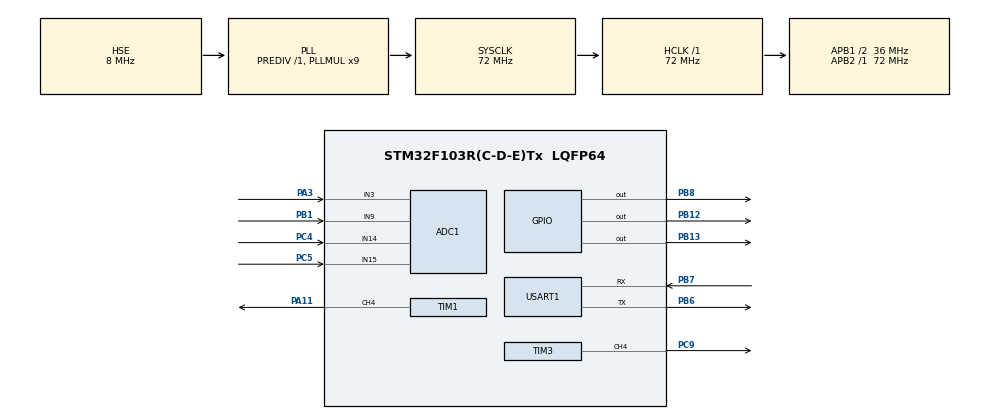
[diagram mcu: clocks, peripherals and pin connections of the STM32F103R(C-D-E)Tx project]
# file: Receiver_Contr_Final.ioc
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ADC1.Channel-0\#ChannelRegularConversion=ADC_CHANNEL_3
ADC1.Channel-1\#ChannelRegularConversion=ADC_CHANNEL_9
ADC1.Channel-2\#ChannelRegularConversion=ADC_CHANNEL_14
ADC1.Channel-3\#ChannelRegularConversion=ADC_CHANNEL_15
ADC1.NbrOfConversion=4
ADC1.NbrOfConversionFlag=1
ADC1.Rank-0\#ChannelRegularConversion=1
ADC1.Rank-1\#ChannelRegularConversion=2
ADC1.Rank-2\#ChannelRegularConversion=3
ADC1.Rank-3\#ChannelRegularConversion=4
ADC1.SamplingTime-0\#ChannelRegularConversion=ADC_SAMPLETIME_1CYCLE_5
ADC1.SamplingTime-1\#ChannelRegularConversion=ADC_SAMPLETIME_1CYCLE_5
ADC1.SamplingTime-2\#ChannelRegularConversion=ADC_SAMPLETIME_1CYCLE_5
ADC1.SamplingTime-3\#ChannelRegularConversion=ADC_SAMPLETIME_1CYCLE_5
ADC1.master=1
Dma.ADC1.1.Direction=DMA_PERIPH_TO_MEMORY
Dma.ADC1.1.Instance=DMA1_Channel1
Dma.ADC1.1.MemDataAlignment=DMA_MDATAALIGN_WORD
Dma.ADC1.1.MemInc=DMA_MINC_ENABLE
Dma.ADC1.1.Mode=DMA_NORMAL
Dma.ADC1.1.PeriphDataAlignment=DMA_PDATAALIGN_WORD
Dma.ADC1.1.PeriphInc=DMA_PINC_DISABLE
Dma.ADC1.1.Priority=DMA_PRIORITY_LOW
Dma.Request0=USART1_TX
Dma.Request1=ADC1
Dma.USART1_TX.0.Direction=DMA_MEMORY_TO_PERIPH
Dma.USART1_TX.0.Instance=DMA1_Channel4
Dma.USART1_TX.0.MemDataAlignment=DMA_MDATAALIGN_BYTE
Dma.USART1_TX.0.MemInc=DMA_MINC_ENABLE
Dma.USART1_TX.0.Mode=DMA_NORMAL
Dma.USART1_TX.0.PeriphDataAlignment=DMA_PDATAALIGN_BYTE
Dma.USART1_TX.0.PeriphInc=DMA_PINC_DISABLE
Dma.USART1_TX.0.Priority=DMA_PRIORITY_LOW
Mcu.Family=STM32F1
Mcu.Name=STM32F103R(C-D-E)Tx
Mcu.Package=LQFP64
NVIC.ADC1_2_IRQn=true\:0\:0\:false\:false\:true\:true
NVIC.DMA1_Channel1_IRQn=true\:0\:0\:false\:false\:true\:true
NVIC.DMA1_Channel4_IRQn=true\:0\:0\:false\:false\:true\:true
NVIC.PriorityGroup=NVIC_PRIORITYGROUP_4
NVIC.TIM1_CC_IRQn=true\:0\:0\:false\:false\:true\:true
NVIC.TIM7_IRQn=true\:0\:0\:false\:false\:true\:true
NVIC.USART1_IRQn=true\:0\:0\:false\:false\:true\:true
PA11.GPIO_Speed=GPIO_SPEED_FREQ_HIGH
PA11.Signal=S_TIM1_CH4
PA3.Signal=ADCx_IN3
PB1.Signal=ADCx_IN9
PB12.GPIO_Speed=GPIO_SPEED_FREQ_HIGH
PB12.Signal=GPIO_Output
PB13.GPIO_Speed=GPIO_SPEED_FREQ_HIGH
PB13.Signal=GPIO_Output
PB6.Mode=Asynchronous
PB6.Signal=USART1_TX
PB7.Mode=Asynchronous
PB7.Signal=USART1_RX
PB8.GPIO_Speed=GPIO_SPEED_FREQ_HIGH
PB8.Signal=GPIO_Output
PC4.Signal=ADCx_IN14
PC5.Signal=ADCx_IN15
PC9.GPIO_Speed=GPIO_SPEED_FREQ_HIGH
PC9.Signal=S_TIM3_CH4
PD0-OSC_IN.Mode=HSE-External-Oscillator
PD0-OSC_IN.Signal=RCC_OSC_IN
PD1-OSC_OUT.Mode=HSE-External-Oscillator
PD1-OSC_OUT.Signal=RCC_OSC_OUT
ProjectManager.HeapSize=0x200
ProjectManager.StackSize=0x400
ProjectManager.TargetToolchain=MDK-ARM V5
RCC.ADCPresc=RCC_ADCPCLK2_DIV6
RCC.AHBFreq_Value=72000000
RCC.APB1CLKDivider=RCC_HCLK_DIV2
RCC.APB1Freq_Value=36000000
RCC.APB1TimFreq_Value=72000000
RCC.APB2Freq_Value=72000000
RCC.APB2TimFreq_Value=72000000
RCC.HCLKFreq_Value=72000000
RCC.OscillatorTypeHSI=RCC_OSCILLATORTYPE_HSI
RCC.PLLMUL=RCC_PLL_MUL9
RCC.PLLSourceVirtual=RCC_PLLSOURCE_HSE
RCC.SYSCLKFreq_VALUE=72000000
RCC.SYSCLKSource=RCC_SYSCLKSOURCE_PLLCLK
RCC.USBFreq_Value=72000000
SH.ADCx_IN14.0=ADC1_IN14,IN14
SH.ADCx_IN15.0=ADC1_IN15,IN15
SH.ADCx_IN3.0=ADC1_IN3,IN3
SH.ADCx_IN9.0=ADC1_IN9,IN9
SH.S_TIM1_CH4.0=TIM1_CH4,PWM Generation4 CH4
SH.S_TIM3_CH4.0=TIM3_CH4,PWM Generation4 CH4
TIM1.Channel-PWM\ Generation4\ CH4=TIM_CHANNEL_4
TIM1.OCPolarity_4=TIM_OCPOLARITY_HIGH
TIM1.Period=3600
TIM1.Pulse-PWM\ Generation4\ CH4=3600
TIM3.Channel-PWM\ Generation4\ CH4=TIM_CHANNEL_4
TIM3.Period=26
TIM3.Prescaler=71
TIM3.Pulse-PWM\ Generation4\ CH4=13
TIM7.Period=560
TIM7.Prescaler=71
USART1.Parity=PARITY_EVEN
USART1.VirtualMode=VM_ASYNC
USART1.WordLength=WORDLENGTH_9B
VP_SYS_VS_ND.Mode=No_Debug
VP_TIM7_VS_ClockSourceINT.Mode=Enable_Timer
board=Receiver_Contr_Final

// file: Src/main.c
/**
  ******************************************************************************
  * File Name          : main.c
  * Description        : Main program body
  ******************************************************************************
  *
  * COPYRIGHT(c) 2019 STMicroelectronics
  *
  * Redistribution and use in source and binary forms, with or without modification,
  * are permitted provided that the following conditions are met:
  *   1. Redistributions of source code must retain the above copyright notice,
  *      this list of conditions and the following disclaimer.
  *   2. Redistributions in binary form must reproduce the above copyright notice,
  *      this list of conditions and the following disclaimer in the documentation
  *      and/or other materials provided with the distribution.
  *   3. Neither the name of STMicroelectronics nor the names of its contributors
  *      may be used to endorse or promote products derived from this software
  *      without specific prior written permission.
  *
  * THIS SOFTWARE IS PROVIDED BY THE COPYRIGHT HOLDERS AND CONTRIBUTORS "AS IS"
  * AND ANY EXPRESS OR IMPLIED WARRANTIES, INCLUDING, BUT NOT LIMITED TO, THE
  * IMPLIED WARRANTIES OF MERCHANTABILITY AND FITNESS FOR A PARTICULAR PURPOSE ARE
  * DISCLAIMED. IN NO EVENT SHALL THE COPYRIGHT HOLDER OR CONTRIBUTORS BE LIABLE
  * FOR ANY DIRECT, INDIRECT, INCIDENTAL, SPECIAL, EXEMPLARY, OR CONSEQUENTIAL
  * DAMAGES (INCLUDING, BUT NOT LIMITED TO, PROCUREMENT OF SUBSTITUTE GOODS OR
  * SERVICES; LOSS OF USE, DATA, OR PROFITS; OR BUSINESS INTERRUPTION) HOWEVER
  * CAUSED AND ON ANY THEORY OF LIABILITY, WHETHER IN CONTRACT, STRICT LIABILITY,
  * OR TORT (INCLUDING NEGLIGENCE OR OTHERWISE) ARISING IN ANY WAY OUT OF THE USE
  * OF THIS SOFTWARE, EVEN IF ADVISED OF THE POSSIBILITY OF SUCH DAMAGE.
  *
  ******************************************************************************
  */
#include "main.h"
#include "stm32f1xx_hal.h"
#include "adc.h"
#include "dma.h"
#include "tim.h"
#include "usart.h"
#include "gpio.h"

/* USER CODE BEGIN PV */
/* Private variables ---------------------------------------------------------*/

//以下是充电控制的相关参数
uint32_t ADC_ConvertedValue[4];//AD采样结果存储
uint16_t Vot_Limit_Rec,Cur_Limit_Rec,Temp_Limit_Rec;
uint16_t Vot_Rec_Buck_In,Duty_Rec_Buck,Vot_Rec_Buck_Out,Cur_Rec_Buck,Temp_Rec_Battery;
uint16_t WorkMode;//对于WorkMode，第1-2位存储温度控制模式，00表示失能，11表示使能，10和01无意义
//对于WorkMode，第3-4位存储BUCK控制模式，00表示正常PI控制，11表示全关，10表示全开，01无意义
uint8_t SystemState;
float K_VotStart,K_VotStop;//通过BUCK输入电压检测来转换接收端状态，两个K值是输入电压与输出电压的比值
uint8_t Flag_WorkMode_Conversion;
uint16_t TimeCnt_WorkMode_Conversion;
uint16_t Delt_VotStart,Delt_VotStop;
/*******************************************************
SystemState用以决定工作状态切换，暂定义如下：
0：未充电状态；1：正常充电状态。只有这两种状态，中间状态不做特殊处理
*******************************************************/

float Cur_Kp,Cur_Ki,Vot_Kp,Vot_Ki;//PI控制的参数

//以下是红外发射的相关参数
uint8_t Flag1,Flag2,BitCnt,Flag_Infray_Done,Jiaoyan_Infray;//计算数据校验用，低4位有用;
uint8_t Flag_Zhen_No,Flag_Infray_WaitTime;
//只有Flag_Infray_Done标志为1时，才允许发射红外信号
uint32_t Infray_TransDat;//要发送的数据
uint16_t Period[32];//存储每一位数据对应的Pulse信息
uint16_t TimeCnt_Infray;//用以定时3秒钟，在休眠态，每隔3秒钟，发送一次红外，一次发送4帧，循环2遍
uint8_t Cnt_InfrayTrans;//用以记录红外发送循环了几次

//以下是车辆自身信息
uint32_t Bike_ID;

//以下是串口控制信息
uint8_t Flag_StartByte;//表征是否检测到字头
uint8_t Byte_Cnt;//对接收字节的数量进行计数
uint8_t Data_ReceArray[6];//存储接收到的串口数据，6个字节为一组，超时未接收完成则全部舍弃
uint8_t Data_ReceSingle;//单个接收字节
uint8_t Flag_Trans_Done,Flag_Rece_Done,TimeCnt485;
uint8_t SystInfo_Package[18];
uint16_t Jiaoyan485;

//以下是FLASH相关信息
uint32_t ReadFlashData;
/* USER CODE END PV */

void SystemClock_Config(void);
void Error_Handler(void);

/* USER CODE BEGIN PFP */
/* Private function prototypes -----------------------------------------------*/
//红外发射函数，形参为要发送的32位数值
void Ir_Tx(uint32_t Dat);
//红外待发信息打包函数
void Infray_InfoPackage_First_First(void);//打包第一类帧第一分帧
void Infray_InfoPackage_First_Second(void);//打包第一类帧第二分帧
void Infray_InfoPackage_First_Third(void);//打包第一类帧第三分帧
void Infray_InfoPackage_Second(void);//打包第二类帧
void Infray_InfoPackage_Third(void);//打包第三类帧
//FLASH读写函数
uint32_t ReadFlash(uint32_t Address);//读指定位置上的数值，一次读取4个字节
void WriteFlash(uint32_t Address);//向指定地址上写数据，半字操作，即一次写入两个字节
//变量初始化函数
void Variable_Init(void);
//全部信息打包及发送函数
void Info_Trans(void);
void Info_Package(void);
/* USER CODE END PFP */

/* USER CODE BEGIN 0 */
#define FLASH_RW_StartAddress ((uint32_t) 0x0803F804)  //FLASH第127页起始地址向后偏移4个字节
/* USER CODE END 0 */

int main(void)
{

  /* USER CODE BEGIN 1 */
	uint8_t ss,sum;
  /* USER CODE END 1 */

  /* MCU Configuration----------------------------------------------------------*/

  /* Reset of all peripherals, Initializes the Flash interface and the Systick. */
  HAL_Init();

  /* Configure the system clock */
  SystemClock_Config();

  /* Initialize all configured peripherals */
  MX_GPIO_Init();
  MX_DMA_Init();
  MX_TIM1_Init();
  MX_TIM3_Init();
  MX_TIM7_Init();
  MX_ADC1_Init();
  MX_USART1_UART_Init();

  /* USER CODE BEGIN 2 */
	/*********************************参数调节区间*********************************/

	//对于充电控制的电压限值和电流限值，通过上位机软件下发指令进行修改
	//充电控制的两个参数为Vot_Limit_Rec和Cur_Limit_Rec，在AD中断中使用，进行电压电流保护
	//对于状态转换，涉及到4个变量：float K_VotStart,K_VotStop以及uint16_t Delt_VotStart,Delt_VotStop;
	//在未充电状态时，检测到输入电压Vot_Rec_Buck_In大于K_VotStart*(0.465*Vot_Rec_Buck_Out-65+Delt_VotStart)时，开始高电压计时，高电压计时超过1s，转换状态
	//K_VotStart=0.85,Delt_VotStart=100
	//计时过程中，检测到Vot_Rec_Buck_In小于K_VotStart*(0.465*Vot_Rec_Buck_Out-65)时，清除计时标志，重新检测
	//在正常充电状态时，检测到输入电压Vot_Rec_Buck_In小于K_VotStop*（0.465*Vot_Rec_Buck_Out-Delt_VotStop）时，开始低电压计时，低电压计时超过30s，转换状态
	//K_VotStop=0.7,Delt_VotStop=100
	//计时过程中，检测到Vot_Rec_Buck_In大于0.465*Vot_Rec_Buck_Out*K_VotStop时，清除计时标志，重新检测
	K_VotStart=0.55;Delt_VotStart=100;//设置Delt_VotStart和Delt_VotStop主要是避免采样不准和抖动带来的误操作
	K_VotStop=0.25;Delt_VotStop=100;
	//另，在开启温度保护后，当温度高于一定值后，系统会启动保护，禁止充电，上报故障，该温度保护的阈值由Temp_Limit_Rec确定，其值越小，温度越高
	Temp_Limit_Rec=620;

	/*********************************参数调节区间*********************************/

	//变量初始化，包括电压/电流限定值、工作模式、车辆ID的读取，状态变量的设定，PI控制参数的初始化
	Variable_Init();

	Rece_485_En();
	HAL_UART_Receive_IT(&huart1,&Data_ReceSingle,1);

	//根据PI控制，当没有输入电流时，会自动调整Duty_Rec_Buck至满开
	//保持BUCK满开，能够有效避免输入电压过低，对设备安全极为重要，因此，各种状态下，均无需关闭BUCK控制，除非测试指令中的全关指令
	HAL_TIM_Base_Start_IT(&htim1);
	HAL_TIM_OC_Start_IT(&htim1,TIM_CHANNEL_4);

	Flag_Infray_Done=1;//启动红外功能

  /* USER CODE END 2 */

  /* Infinite loop */
  while (1)
  {

  /* USER CODE BEGIN 3 */

		if(Flag_StartByte)
		{
			if(TimeCnt485>50)//已检测到字头，但50ms内未接收完成6个字节，则复位重新接收
			{
				Flag_StartByte=0;
				TimeCnt485=0;
				Byte_Cnt=0;
			}
		}

		if(Flag_Rece_Done)//接收完成6个字节的有效数据，进行处理
		{
			Flag_Rece_Done=0;
			sum=0;//求和值先清零
			for(ss=1;ss<5;ss++)
			{
				sum+=Data_ReceArray[ss];
			}
			if(sum==Data_ReceArray[5])//判断校验，校验失败则不做任何处理
			{
				switch(Data_ReceArray[0])
				{
					case 0x0F:
					{
						//反馈接收端所有电路信息
						Info_Trans();
						break;
					}
					case 0x1E:
					{
						//修改电压限值及电流限值，写入FLASH，然后反馈所有电路信息
						Vot_Limit_Rec=Data_ReceArray[1]+(Data_ReceArray[3]&0xf0)*16;
						Cur_Limit_Rec=Data_ReceArray[2]+(Data_ReceArray[3]&0x0f)*256;
						WriteFlash(FLASH_RW_StartAddress);
						Info_Trans();
						break;
					}
					case 0x2D:
					{
						//修改BUCK控制模式为全开，然后反馈所有电路信息
						WorkMode|=0x08;//对第4位置1
						WorkMode&=0xfB;//对第3位清0
						htim1.Instance->CCR4=3600;
						Info_Trans();
						break;
					}
					case 0x3C:
					{
						//修改BUCK控制模式为全关，然后反馈所有电路信息
						WorkMode|=0x0C;//对第3-4位置1
						htim1.Instance->CCR4=0;
						Info_Trans();
						break;
					}
					case 0x4B:
					{
						//恢复BUCK控制模式为PI控制，然后反馈所有电路信息
						WorkMode&=0xf3;//对第3-4位清零
						Info_Trans();
						break;
					}
					case 0x5A:
					{
						//修改车载设备编号，写入FLASH，然后反馈所有电路信息
						Bike_ID=0;
						Bike_ID+=Data_ReceArray[4];
						Bike_ID=Bike_ID<<8;
						Bike_ID+=Data_ReceArray[3];
						Bike_ID=Bike_ID<<8;
						Bike_ID+=Data_ReceArray[2];
						Bike_ID=Bike_ID<<8;
						Bike_ID+=Data_ReceArray[1];
						WriteFlash(FLASH_RW_StartAddress);
						Info_Trans();
						break;
					}
					case 0x69:
					{
						//失能温度控制，写入FLASH，然后反馈所有电路信息
						WorkMode&=0xfc;//对1-2位清零
						WriteFlash(FLASH_RW_StartAddress);
						Info_Trans();
						break;
					}
					case 0x78:
					{
						//使能温度控制，写入FLASH，然后反馈所有电路信息
						WorkMode|=0x03;//对1-2位置1
						WriteFlash(FLASH_RW_StartAddress);
						Info_Trans();
						break;
					}

					default: break;
				}
			}
		}
		switch(SystemState)
		{
			case 0:
			{
				//半休眠态，需要发送红外第一类帧及第二类帧，共4帧，间隔3秒发送一次
				//工作状态的切换靠输入电压检测

				if(Flag_Infray_WaitTime)
				{
					//Flag_Zhen_No的转换在定时器中断中实现
					if(Flag_Infray_Done)
					{
						Flag_Infray_Done=0;
						HAL_Delay(100);
						if(Flag_Zhen_No==0)//发送第一类帧第一分帧
						{
							if(Cnt_InfrayTrans)
								Infray_InfoPackage_First_First();
							Ir_Tx(Infray_TransDat);
						}
						else if(Flag_Zhen_No==1)//发送第一类帧第二分帧
						{
							if(Cnt_InfrayTrans)
								Infray_InfoPackage_First_Second();
							Ir_Tx(Infray_TransDat);
						}
						else if(Flag_Zhen_No==2)//发送第一类帧第三分帧
						{
							if(Cnt_InfrayTrans)
								Infray_InfoPackage_First_Third();
							Ir_Tx(Infray_TransDat);
						}
						else if(Flag_Zhen_No==3)//发送第二类帧
						{
							if(Cnt_InfrayTrans)
								Infray_InfoPackage_Second();
							Ir_Tx(Infray_TransDat);
							if(Cnt_InfrayTrans)
								Cnt_InfrayTrans--;//Flag_Zhen_No初始化从0开始，发送完第三类帧后循环次数减1
							else
								Flag_Infray_WaitTime=0;//SystTick中置1，发送完第三类帧，且已循环发送2遍后，清零，代表完成了一次发送，等待下次定时时间到再次置1
						}
					}
				}
				if(Vot_Rec_Buck_In>(K_VotStart*0.465*Vot_Rec_Buck_Out+Delt_VotStart))//检测输入电压用以状态切换
				{
					if(!Flag_WorkMode_Conversion)//首次检测到输入电压超出设定阈值
					{
						Flag_WorkMode_Conversion=1;//设置标志位
					}
					else//之前已检测到输入电压过高，此处对处于高电压的时间进行计时判断
					{
						if(Flag_WorkMode_Conversion>2)////值-1即已延时的秒数，此处判断是否电压过高状态是否已持续1s
						{
							SystemState=1;
							Flag_WorkMode_Conversion=0;
							TimeCnt_WorkMode_Conversion=0;
						}//如果持续时间未到，则不动作
					}
				}
				//电压值过高，则设置Flag_WorkMode_Conversion标志位，并开始计数
				//电压值过低，则清除标志位，重新检测，只有电压值持续过高，才会使得Flag_WorkMode_Conversion持续增加
				if(Vot_Rec_Buck_In<K_VotStart*0.465*Vot_Rec_Buck_Out)
				{
					Flag_WorkMode_Conversion=0;
					TimeCnt_WorkMode_Conversion=0;
				}
				break;
			}
			case 1:
			{

				if(Flag_Infray_Done)
				{
					Flag_Infray_Done=0;
					HAL_Delay(100);
					if(Flag_Zhen_No==0)//发送第二类帧
					{
						Infray_InfoPackage_Second();
						Ir_Tx(Infray_TransDat);
					}
					else//发送第三类帧
					{
						Infray_InfoPackage_Third();
						Ir_Tx(Infray_TransDat);
					}
				}
				if(Vot_Rec_Buck_In<200)//检测输入电压，用以状态切换
				{
					if(!Flag_WorkMode_Conversion)//首次检测到输入电压小于设定阈值
					{
						LED2_TOGGLE();
						Flag_WorkMode_Conversion=1;//设置标志位
					}
					else//之前已检测到输入电压过低，此处对处于低电压的时间进行计时判断
					{
						if(Flag_WorkMode_Conversion>6)//值-1即已延时的秒数，此处判断是否电压过低状态是否已持续30s
						{
							SystemState=0;//持续30s过低，则转换状态，清零两个计数
							Flag_WorkMode_Conversion=0;
							TimeCnt_WorkMode_Conversion=0;

							//设定红外要继续发送
							Flag_Zhen_No=0;
							Flag_Infray_Done=1;
							Flag_Infray_WaitTime=1;

						}//如果时间未到30s，则不动作
					}
				}
				//电压值过低，则设置Flag_WorkMode_Conversion标志位，并开始计数
				//电压值过高，则清除标志位，重新检测，只有电压值持续过低，才会使得Flag_WorkMode_Conversion持续增加
				if(Vot_Rec_Buck_In>600)
				{
					Flag_WorkMode_Conversion=0;
					TimeCnt_WorkMode_Conversion=0;
				}
				break;
			}

			default:
			{
				SystemState=0;
				break;
			}
		}

  }
  /* USER CODE END 3 */

}

/** System Clock Configuration
*/
void SystemClock_Config(void)
{

  RCC_OscInitTypeDef RCC_OscInitStruct;
  RCC_ClkInitTypeDef RCC_ClkInitStruct;
  RCC_PeriphCLKInitTypeDef PeriphClkInit;

    /**Initializes the CPU, AHB and APB busses clocks
    */
  RCC_OscInitStruct.OscillatorType = RCC_OSCILLATORTYPE_HSE;
  RCC_OscInitStruct.HSEState = RCC_HSE_ON;
  RCC_OscInitStruct.HSEPredivValue = RCC_HSE_PREDIV_DIV1;
  RCC_OscInitStruct.PLL.PLLState = RCC_PLL_ON;
  RCC_OscInitStruct.PLL.PLLSource = RCC_PLLSOURCE_HSE;
  RCC_OscInitStruct.PLL.PLLMUL = RCC_PLL_MUL9;
  if (HAL_RCC_OscConfig(&RCC_OscInitStruct) != HAL_OK)
  {
    Error_Handler();
  }

    /**Initializes the CPU, AHB and APB busses clocks
    */
  RCC_ClkInitStruct.ClockType = RCC_CLOCKTYPE_HCLK|RCC_CLOCKTYPE_SYSCLK
                              |RCC_CLOCKTYPE_PCLK1|RCC_CLOCKTYPE_PCLK2;
  RCC_ClkInitStruct.SYSCLKSource = RCC_SYSCLKSOURCE_PLLCLK;
  RCC_ClkInitStruct.AHBCLKDivider = RCC_SYSCLK_DIV1;
  RCC_ClkInitStruct.APB1CLKDivider = RCC_HCLK_DIV2;
  RCC_ClkInitStruct.APB2CLKDivider = RCC_HCLK_DIV1;

  if (HAL_RCC_ClockConfig(&RCC_ClkInitStruct, FLASH_LATENCY_2) != HAL_OK)
  {
    Error_Handler();
  }

  PeriphClkInit.PeriphClockSelection = RCC_PERIPHCLK_ADC;
  PeriphClkInit.AdcClockSelection = RCC_ADCPCLK2_DIV6;
  if (HAL_RCCEx_PeriphCLKConfig(&PeriphClkInit) != HAL_OK)
  {
    Error_Handler();
  }

    /**Configure the Systick interrupt time
    */
  HAL_SYSTICK_Config(HAL_RCC_GetHCLKFreq()/1000);

    /**Configure the Systick
    */
  HAL_SYSTICK_CLKSourceConfig(SYSTICK_CLKSOURCE_HCLK);

  /* SysTick_IRQn interrupt configuration */
  HAL_NVIC_SetPriority(SysTick_IRQn, 0, 0);
}

/* USER CODE BEGIN 4 */
//SystemTick 1ms中断
void HAL_SYSTICK_Callback(void)
{
	//485通信相关计时及标志
	if(Flag_StartByte)//检测到485字头，开启计时，超时未接收完，则舍弃全部接收到的数据，重新检测字头
	{
		if(TimeCnt485<255)
		{
			TimeCnt485++;
		}
	}
	//红外发送相关计时及标志
	if(SystemState==0)//只在休眠态需要提供定时信息，其他状态，红外连续发送
	{
		TimeCnt_Infray++;
		if(TimeCnt_Infray>3000)//每隔3秒提供一次定时信息
		{
			TimeCnt_Infray=0;
			Flag_Infray_WaitTime=1;//定时时间到标志置1
			Cnt_InfrayTrans=1;//循环次数设定为2次，主程序中是先发送减1
		}
	}
	//工作状态转换相关计时及标志
	if(Flag_WorkMode_Conversion)
	{
		TimeCnt_WorkMode_Conversion++;
		if(TimeCnt_WorkMode_Conversion>1000)//计时达到1s
		{
			TimeCnt_WorkMode_Conversion=0;
			Flag_WorkMode_Conversion++;
		}
	}
}
//红外发射函数定义
void Ir_Tx(uint32_t Dat)
{
	uint8_t i;
	for(i=0;i<32;i++)
	{
		if(Dat&0x80000000)
			Period[i]=1680;
		else
			Period[i]=560;
		Dat=Dat<<1;
	}

	__HAL_TIM_SET_COUNTER(&htim7,0);
	__HAL_TIM_CLEAR_FLAG(&htim7,TIM_FLAG_UPDATE);
	__HAL_TIM_SET_AUTORELOAD(&htim7,9000);
	Flag1=0;Flag2=0;BitCnt=0;
	HAL_TIM_Base_Start_IT(&htim3);
	HAL_TIM_PWM_Start(&htim3,TIM_CHANNEL_4);
	HAL_TIM_Base_Start_IT(&htim7);
}

//FLASH读数据函数
uint32_t ReadFlash(uint32_t Address)
{
	uint32_t Result;
	Result=*(__IO uint32_t*)(Address);
	return Result;
}
//FLASH写数据函数
void WriteFlash(uint32_t Address)
{
	//FLASH存储操作，对于Stm32F103RCT6，其内存大小为256K，共128页，每页2K
	FLASH_EraseInitTypeDef Flash;
	uint32_t PageError;

	HAL_FLASH_Unlock();//解锁写保护
	//定义擦除对象
	Flash.TypeErase=FLASH_TYPEERASE_PAGES;
	Flash.PageAddress=FLASH_RW_StartAddress;
	Flash.NbPages=1;
	//设置PageError
	PageError=0;//0xFFFFFFFF means that all the pages have been correctly erased
	//调用擦除函数
	HAL_FLASHEx_Erase(&Flash,&PageError);
	//烧写FLASH
	HAL_FLASH_Program(FLASH_TYPEPROGRAM_HALFWORD,Address,Vot_Limit_Rec);
	HAL_FLASH_Program(FLASH_TYPEPROGRAM_HALFWORD,Address+2,Cur_Limit_Rec);
	HAL_FLASH_Program(FLASH_TYPEPROGRAM_WORD,Address+4,Bike_ID);
	HAL_FLASH_Program(FLASH_TYPEPROGRAM_HALFWORD,Address+8,WorkMode);
	HAL_FLASH_Lock();
}

//红外发射的中断处理
void HAL_TIM_PeriodElapsedCallback(TIM_HandleTypeDef *htim)//定时器更新事件的回调函数
{
	if(htim->Instance==TIM1)
	{
		//TIM1是BUCK控制的中断，暂时不做处理
	}
	//控制红外的TIM3未开中断，因此不需要处理
	if(htim->Instance==TIM7)
	{
		if(Flag1==0)//表明处于引导码发射
		{
			if(Flag2==0)//表明刚完成PWM发射，需要关断一段时间
			{
				HAL_TIM_PWM_Stop(&htim3,TIM_CHANNEL_4);
				Flag2=1;
				__HAL_TIM_SET_AUTORELOAD(&htim7,4500);
			}
			else//表明引导码高低电平均已完成
			{
				HAL_TIM_PWM_Start(&htim3,TIM_CHANNEL_4);
				Flag1=1;Flag2=0;
				__HAL_TIM_SET_AUTORELOAD(&htim7,560);//载波560us
			}
		}
		else//完成引导码发射
		{
			if(Flag2==0)
			{
				HAL_TIM_PWM_Stop(&htim3,TIM_CHANNEL_4);
				Flag2=1;
				__HAL_TIM_SET_AUTORELOAD(&htim7,Period[BitCnt]);
				if(BitCnt>31)
				{
					HAL_TIM_Base_Stop_IT(&htim7);
					HAL_TIM_Base_Stop_IT(&htim3);
					Flag_Infray_Done=1;//红外发送完成标志，只有完成发射，才能进行下一帧发射
					//HAL_Delay(100);
					//Flag_Zhen_No的切换要仔细考虑
					if(SystemState)//正常充电状态
					{
						if(Flag_Zhen_No==0)
							Flag_Zhen_No=1;
						else
							Flag_Zhen_No=0;//在0-1中间循环
					}
					else//半休眠状态
					{
						if(Flag_Zhen_No<3)
							Flag_Zhen_No++;
						else
							Flag_Zhen_No=0;//在0-3中间循环
					}
					/*Flag_Zhen_No++;
					if(Flag_Zhen_No>2)
						Flag_Zhen_No=0;*/
				}
				else
					BitCnt++;
			}
			else
			{
				HAL_TIM_PWM_Start(&htim3,TIM_CHANNEL_4);
				Flag2=0;
				__HAL_TIM_SET_AUTORELOAD(&htim7,560);
			}
		}
	}
	__HAL_TIM_CLEAR_FLAG(htim,TIM_FLAG_UPDATE);
	//HAL_Delay(100);
}

//BUCK控制的PWM波输出比较中断（定时器1，通道4），用来开AD--ADC1-3, ADC1-9, ADC1-14, ADC1-15
void HAL_TIM_OC_DelayElapsedCallback(TIM_HandleTypeDef *htim)
{
	if(htim->Instance==TIM1)
	{
		HAL_ADC_Start_DMA(&hadc1,ADC_ConvertedValue,4);
	}
	__HAL_TIM_CLEAR_FLAG(htim,TIM_FLAG_CC4);
}

//以下为PID控制部分，在AD完成中断中进行控制
//float inte=0;

#define SCALE_Cur 10000
#define SCALE_Vot 10000
#define TIM2_Pulse_Upper 3600

void HAL_ADC_ConvCpltCallback(ADC_HandleTypeDef* hadc)
{
	//获得采样值
  Vot_Rec_Buck_In=ADC_ConvertedValue[0]&0xfff;//BUCK输入电压
	Temp_Rec_Battery=ADC_ConvertedValue[1]&0xfff;//电池温度
	Vot_Rec_Buck_Out=ADC_ConvertedValue[2]&0xfff;//电池电压
	Cur_Rec_Buck=ADC_ConvertedValue[3]&0xfff;//充电电流

	//控制算法

	int32_t err,out,intOldOut;
	static int32_t oldErr=0,oldOut=0;
	int32_t dout,derr;

	int32_t Vot_Err;
	static int32_t Vot_OldErr,Cur_Ref_OldOut;
	int32_t Cur_Ref,D_Cur_Ref,D_Vot_Err;

	if(Vot_Rec_Buck_Out>2800)
	{
		Duty_Rec_Buck=Duty_Rec_Buck/2;
		oldOut=oldOut/2;
	}
	else
	{
		Vot_Err=(Vot_Limit_Rec-Vot_Rec_Buck_Out)*SCALE_Vot;//设定值减去实测值
		D_Vot_Err=(Vot_Err-Vot_OldErr);
		Vot_OldErr=Vot_Err;

		D_Cur_Ref=D_Vot_Err*Vot_Kp+Vot_Err*Vot_Ki/20000;
		Cur_Ref=Cur_Ref_OldOut+D_Cur_Ref;
		if(Cur_Ref>Cur_Limit_Rec)
		{
			Cur_Ref=Cur_Limit_Rec;//不超过上限值，但可以为负
		}
		Cur_Ref_OldOut=Cur_Ref;//只有Cur_Ref在0-Cur_Limit_Rec之间时，才更新Cur_Ref_OldOut

		err=(Cur_Ref-Cur_Rec_Buck)*SCALE_Cur;//设定值减去实测值

		derr=err-oldErr;
		oldErr=err;

		dout=derr*Cur_Kp+err*Cur_Ki/20000;

		out=oldOut+dout;
		intOldOut=out;

		out=out/SCALE_Cur;

		if(out>TIM2_Pulse_Upper)
		{
			out=TIM2_Pulse_Upper;
		}
		else
		if(out<0)
		{
			out=0;
		}
		else
		{
			oldOut=intOldOut;//只有输出的占空比在0-3600之间时，才更新输出
		}
		Duty_Rec_Buck=out;
	}

	//只在正常PI控制，温度控制未开，或温度控制已开但温度未超标时候，才允许更新PWM波的占空比
	//当处于BUCK全开或BUCK全关，或正常PI控制且开启温度控制但温度超标条件下，不允许更新PWM波占空比，PWM波将保持在主程序中设定的值
	/*if((WorkMode&0x0C)==0)//处于正常PI控制模式
	{
		if((WorkMode&0x03)==0)//温度控制失能
		{
			htim1.Instance->CCR4=Duty_Rec_Buck;
		}
		else if(Temp_Rec_Battery>Temp_Limit_Rec)//WorkMode的1-2位非零，即认为开启了温度控制，此时需要判断温度是否超标，温度越高，温度采样值越小
		{
			htim1.Instance->CCR4=Duty_Rec_Buck;
		}
		else
		{
			htim1.Instance->CCR4=0;//温度超标，关闭BUCK
		}
	}*/
	htim1.Instance->CCR4=Duty_Rec_Buck;

}
//串口发送完成中断
void HAL_UART_TxCpltCallback(UART_HandleTypeDef *huart)
{
	Flag_Trans_Done=1;
	Rece_485_En();
	HAL_UART_Receive_IT(&huart1,&Data_ReceSingle,1);
}

//串口接收完成中断
void HAL_UART_RxCpltCallback(UART_HandleTypeDef *huart)
{
	if(!Flag_StartByte)//未检测到字头，需要先检测字头
	{
		if(Data_ReceSingle==0x55)
		{
			Flag_StartByte=1;//已检测到字头，标记置1
		}
	}
	else//已检测到字头，需要填充有效数据
	{
		Data_ReceArray[Byte_Cnt]=Data_ReceSingle;
		if(Byte_Cnt<5)//有效数据6个字节，下标最多到5
		{
			Byte_Cnt++;
		}
		else//已接收满，重新检测字头，清除485计时，字节下标归0，设定标志位
		{
			Flag_StartByte=0;
			TimeCnt485=0;
			Byte_Cnt=0;
			Flag_Rece_Done=1;
		}
	}

	HAL_UART_Receive_IT(&huart1,&Data_ReceSingle,1);
}

//变量初始化函数
void Variable_Init()
{
	//读取FLASH中存储的控制信息，以及车辆编码
	ReadFlashData=ReadFlash(FLASH_RW_StartAddress);
	Vot_Limit_Rec=ReadFlashData&0xfff;//电压限值
	Cur_Limit_Rec=(ReadFlashData>>16)&0xfff;//电流限值

	if(Vot_Limit_Rec>4000)
		Vot_Limit_Rec=0;
	if(Cur_Limit_Rec>4000)
		Cur_Limit_Rec=0;

	//需要对两个值进行非法判定，以后再考虑
	ReadFlashData=ReadFlash(FLASH_RW_StartAddress+4);
	Bike_ID=ReadFlashData;//车辆编码
	ReadFlashData=ReadFlash(FLASH_RW_StartAddress+8);
	WorkMode=ReadFlashData&0x03;//工作模式，有效值只取1-2位，3-4位默认00，表示正常PI控制

	Duty_Rec_Buck=3600;//BUCK全开，防止输入端过压
	SystemState=0;//系统处于半休眠态
	Flag_WorkMode_Conversion=0;//工作模式转换标志
	TimeCnt_WorkMode_Conversion=0;//工作模式转换计数

	//PI参数初始化
	Cur_Kp=0.001;Cur_Ki=5;
	Vot_Kp=0.001;Vot_Ki=5;

	//红外相关变量初始化
	Flag1=0;Flag2=0;
	BitCnt=0;Flag_Infray_Done=0;
	Flag_Zhen_No=0;Jiaoyan_Infray=0;
	Flag_Infray_WaitTime=1;//初始条件默认允许发射
	TimeCnt_Infray=0;

	//串口相关变量初始化
	Flag_StartByte=0;Byte_Cnt=0;TimeCnt485=0;
	Flag_Trans_Done=0;Flag_Rece_Done=0;
}

//发射端所有信息发送
void Info_Trans(void)
{
	Trans_485_En();
	Info_Package();
	HAL_UART_Transmit_DMA(&huart1,SystInfo_Package,sizeof(SystInfo_Package));
}

void Info_Package(void)
{
	uint8_t i;
	uint8_t Temp_ReadInfo;

	//存储到FLASH中的值，必须再从FLASH中直接读取，以验证确实已正确的写入了FLASH

	SystInfo_Package[0]=0xaa;//开始字头
	SystInfo_Package[1]=Vot_Rec_Buck_Out;//输出电压低8位
	SystInfo_Package[2]=Cur_Rec_Buck;//输出电流低8位
	SystInfo_Package[3]=(Vot_Rec_Buck_Out>>4)&0xf0;//取输出电压9-12位，放入高4位
	SystInfo_Package[3]+=(Cur_Rec_Buck>>8)&0x0f;//取输出电流9-12位，放入低4位
	SystInfo_Package[4]=Vot_Rec_Buck_In;//输入电压低8位
	SystInfo_Package[5]=Duty_Rec_Buck;//占空比低8位
	SystInfo_Package[6]=(Vot_Rec_Buck_In>>4)&0xf0;//取输入电压9-12位，放入高4位
	SystInfo_Package[6]+=(Duty_Rec_Buck>>8)&0x0f;//取占空比9-12位，放入低4位
	SystInfo_Package[7]=Temp_Rec_Battery;//电池温度低8位
	SystInfo_Package[8]=(Temp_Rec_Battery>>4)&0xf0;//电池温度9-12位，放入高4位

	ReadFlashData=ReadFlash(FLASH_RW_StartAddress+8);
	Temp_ReadInfo=ReadFlashData&0x03;//只取低两位信息，BUCK模式信息不使用
	WorkMode=WorkMode&0xfC;//把低两位数据清零
	WorkMode=WorkMode+Temp_ReadInfo;//BUCK控制模式会写入FLASH，但初始化时会把3-4位清零，即系统复位后，BUCK模式默认为正常PI控制
	//正常发送数据时，则取出BUCK控制模式信息（WorkMode的3-4位）
	SystInfo_Package[8]+=WorkMode&0x0f;//工作模式，放入低4位

	//读取FLASH中存储的电压限值和电流限值
	ReadFlashData=ReadFlash(FLASH_RW_StartAddress);
	Vot_Limit_Rec=ReadFlashData&0xfff;//电压限值
	Cur_Limit_Rec=(ReadFlashData>>16)&0xfff;//电流限值

	SystInfo_Package[9]=Vot_Limit_Rec;//电压限值低8位
	SystInfo_Package[10]=Cur_Limit_Rec;//电流限值低8位
	SystInfo_Package[11]=(Vot_Limit_Rec>>4)&0xf0;//取电压限值9-12位，放入高4位
	SystInfo_Package[11]+=(Cur_Limit_Rec>>8)&0x0f;//取电流限值9-12位，放入低4位

	//读取FLASH中存储的Bike_ID
	ReadFlashData=ReadFlash(FLASH_RW_StartAddress+4);
	Bike_ID=ReadFlashData;//车辆编码

	SystInfo_Package[12]=Bike_ID;//车辆编码低8位
	SystInfo_Package[13]=Bike_ID>>8;//车辆编码9-16位
	SystInfo_Package[14]=Bike_ID>>16;//车辆编码17-24位
	SystInfo_Package[15]=Bike_ID>>24;//车辆编码25-32位

	//计算校验值
	Jiaoyan485=0;
	for(i=1;i<16;i++)
	{
		Jiaoyan485+=SystInfo_Package[i];
	}
	SystInfo_Package[16]=Jiaoyan485;//校验值低8位
	SystInfo_Package[17]=Jiaoyan485>>8;//校验值高8位
}

void Infray_InfoPackage_First_First(void)
{
	uint8_t Temp;//临时变量，用以按字节拆分Bike_ID
	Jiaoyan_Infray=0;//只在第一类帧第一分帧中清零
	Infray_TransDat=0x33;//先输入帧头

	Infray_TransDat=Infray_TransDat<<8;
	Temp=Bike_ID;
	Infray_TransDat+=Temp;
	Jiaoyan_Infray+=Temp;

	Infray_TransDat=Infray_TransDat<<8;
	Temp=Bike_ID>>8;
	Infray_TransDat+=Temp;
	Jiaoyan_Infray+=Temp;

	Infray_TransDat=Infray_TransDat<<8;
	Temp=Bike_ID>>16;
	Infray_TransDat+=Temp;
	Jiaoyan_Infray+=Temp;
}
void Infray_InfoPackage_First_Second(void)
{
	uint8_t Temp;

	Infray_TransDat=0x36;//先输入帧头

	Infray_TransDat=Infray_TransDat<<8;
	Temp=Bike_ID>>24;
	Infray_TransDat+=Temp;
	Jiaoyan_Infray+=Temp;

	Infray_TransDat=Infray_TransDat<<8;
	Temp=Vot_Limit_Rec;
	Infray_TransDat+=Temp;
	Jiaoyan_Infray+=Temp;

	Infray_TransDat=Infray_TransDat<<8;
	Temp=(Vot_Limit_Rec>>4)&0xf0;//取电压限值的9-12位，放入高4位
	Temp+=(Cur_Limit_Rec>>8)&0x0f;//取电流限值的9-12位，放入低4位
	Infray_TransDat+=Temp;
	Jiaoyan_Infray+=Temp;
}
void Infray_InfoPackage_First_Third(void)
{
	uint8_t Temp;

	Infray_TransDat=0x39;//先输入帧头

	Infray_TransDat=Infray_TransDat<<8;
	Temp=Cur_Limit_Rec;
	Infray_TransDat+=Temp;
	Jiaoyan_Infray+=Temp;

	Infray_TransDat=Infray_TransDat<<8;
	Temp=WorkMode&0x0f;//只取低4位
	Infray_TransDat+=Temp;
	Jiaoyan_Infray+=Temp;

	Infray_TransDat=Infray_TransDat<<8;
	Infray_TransDat+=Jiaoyan_Infray;//将Jiaoyan值写入第一类帧第三分帧最低8位
}
void Infray_InfoPackage_Second(void)
{
	uint8_t Temp1,Temp2;

	Temp1=0;

	Infray_TransDat=Cur_Rec_Buck&0xfff;//写入输出电流值，取低12位
	Infray_TransDat=Infray_TransDat<<12;
	Infray_TransDat+=(Vot_Rec_Buck_Out&0xfff);//写入输出电压值，取低12位

	Temp2=Infray_TransDat;
	Temp1+=Temp2;

	Temp2=Infray_TransDat>>8;
	Temp1+=Temp2;

	Temp2=Infray_TransDat>>16;
	Temp1+=Temp2;

	Temp1=Temp1>>4;
	Temp1&=0x0f;
	Temp1+=0xC0;

	Infray_TransDat+=Temp1*16777216;//2的24次方，相当于左移24位
}
void Infray_InfoPackage_Third(void)
{
	uint8_t Temp1,Temp2;

	Temp1=0;

	Infray_TransDat=Duty_Rec_Buck&0xfff;//写入占空比信息，取低12位
	Infray_TransDat=Infray_TransDat<<12;
	Infray_TransDat+=(Vot_Rec_Buck_In&0xfff);//写入输入电压值，取低12位

	//计算校验
	Temp2=Infray_TransDat;
	Temp1+=Temp2;

	Temp2=Infray_TransDat>>8;
	Temp1+=Temp2;

	Temp2=Infray_TransDat>>16;
	Temp1+=Temp2;

	Temp1=Temp1>>4;
	Temp1&=0x0f;
	Temp1+=0x90;

	Infray_TransDat+=Temp1*16777216;//2的24次方，相当于左移24位
}
/* USER CODE END 4 */

void Error_Handler(void)
{
  while(1)
  {
  }
}

/************************ (C) COPYRIGHT STMicroelectronics *****END OF FILE****/
